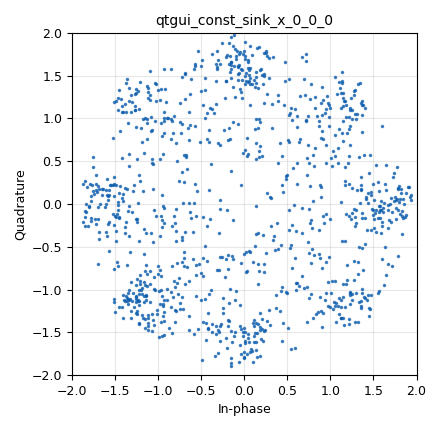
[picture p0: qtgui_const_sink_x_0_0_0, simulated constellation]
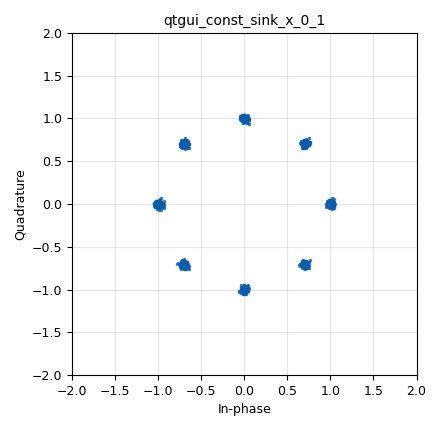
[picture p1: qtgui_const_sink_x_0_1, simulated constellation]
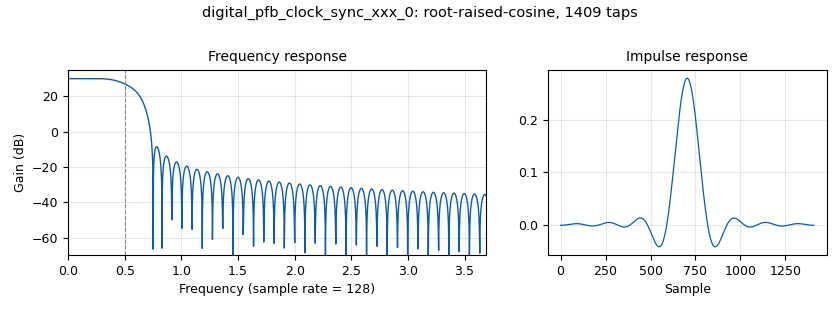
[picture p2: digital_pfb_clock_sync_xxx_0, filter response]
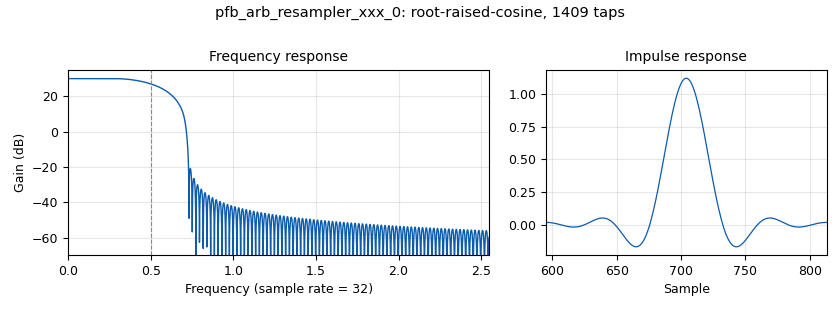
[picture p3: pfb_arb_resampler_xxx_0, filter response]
<?xml version='1.0' encoding='utf-8'?>
<?grc format='1' created='3.7.9'?>
<flow_graph>
<block>
<key>options</key>
<param><key>id</key><value>top_block</value></param>
<param><key>category</key><value>Custom</value></param>
<param><key>generate_options</key><value>qt_gui</value></param>
</block>
<block>
<key>variable</key>
<param><key>id</key><value>const_points</value></param>
<param><key>value</key><value>8</value></param>
</block>
<block>
<key>variable</key>
<param><key>id</key><value>excess_bw</value></param>
<param><key>value</key><value>0.45</value></param>
</block>
<block>
<key>variable</key>
<param><key>id</key><value>fll_ntaps</value></param>
<param><key>value</key><value>55</value></param>
</block>
<block>
<key>variable</key>
<param><key>id</key><value>freq_bw</value></param>
<param><key>value</key><value>2*pi/100</value></param>
</block>
<block>
<key>variable</key>
<param><key>id</key><value>nfilts</value></param>
<param><key>value</key><value>32</value></param>
</block>
<block>
<key>variable</key>
<param><key>id</key><value>ntaps</value></param>
<param><key>value</key><value>11*nfilts*sps</value></param>
</block>
<block>
<key>variable</key>
<param><key>id</key><value>rx_taps</value></param>
<param><key>value</key><value>filter.firdes.root_raised_cosine(nfilts,nfilts*sps,1.0,excess_bw,ntaps)</value></param>
</block>
<block>
<key>variable</key>
<param><key>id</key><value>samp_rate</value></param>
<param><key>value</key><value>80e3</value></param>
</block>
<block>
<key>variable</key>
<param><key>id</key><value>samp_rate2</value></param>
<param><key>value</key><value>500e3</value></param>
</block>
<block>
<key>variable</key>
<param><key>id</key><value>sps</value></param>
<param><key>value</key><value>4</value></param>
</block>
<block>
<key>variable</key>
<param><key>id</key><value>timing_bw</value></param>
<param><key>value</key><value>2*pi/100</value></param>
</block>
<block>
<key>variable</key>
<param><key>id</key><value>tx_taps</value></param>
<param><key>value</key><value>firdes.root_raised_cosine(nfilts,nfilts,1.0,excess_bw,ntaps)</value></param>
</block>
<block>
<key>analog_noise_source_x</key>
<param><key>id</key><value>analog_noise_source_x_0</value></param>
<param><key>amp</key><value>0.05</value></param>
<param><key>noise_type</key><value>analog.GR_GAUSSIAN</value></param>
<param><key>type</key><value>complex</value></param>
<param><key>seed</key><value>0</value></param>
</block>
<block>
<key>analog_random_source_x</key>
<param><key>id</key><value>analog_random_source_x_0</value></param>
<param><key>max</key><value>const_points</value></param>
<param><key>min</key><value>0</value></param>
<param><key>num_samps</key><value>1000</value></param>
<param><key>type</key><value>byte</value></param>
<param><key>repeat</key><value>True</value></param>
</block>
<block>
<key>blocks_add_xx</key>
<param><key>id</key><value>blocks_add_xx_0</value></param>
<param><key>type</key><value>complex</value></param>
<param><key>num_inputs</key><value>3</value></param>
</block>
<block>
<key>blocks_add_xx</key>
<param><key>id</key><value>blocks_add_xx_1</value></param>
<param><key>_enabled</key><value>0</value></param>
<param><key>type</key><value>complex</value></param>
<param><key>num_inputs</key><value>5</value></param>
</block>
<block>
<key>blocks_complex_to_mag_squared</key>
<param><key>id</key><value>blocks_complex_to_mag_squared_0</value></param>
<param><key>_enabled</key><value>0</value></param>
</block>
<block>
<key>blocks_delay</key>
<param><key>id</key><value>blocks_delay_0</value></param>
<param><key>delay</key><value>1</value></param>
<param><key>type</key><value>complex</value></param>
</block>
<block>
<key>blocks_delay</key>
<param><key>id</key><value>blocks_delay_0_0</value></param>
<param><key>delay</key><value>1</value></param>
<param><key>_enabled</key><value>0</value></param>
<param><key>type</key><value>complex</value></param>
</block>
<block>
<key>blocks_delay</key>
<param><key>id</key><value>blocks_delay_0_1</value></param>
<param><key>delay</key><value>1</value></param>
<param><key>_enabled</key><value>0</value></param>
<param><key>type</key><value>complex</value></param>
</block>
<block>
<key>blocks_delay</key>
<param><key>id</key><value>blocks_delay_0_2</value></param>
<param><key>delay</key><value>1</value></param>
<param><key>_enabled</key><value>0</value></param>
<param><key>type</key><value>complex</value></param>
</block>
<block>
<key>blocks_delay</key>
<param><key>id</key><value>blocks_delay_0_3</value></param>
<param><key>delay</key><value>1</value></param>
<param><key>_enabled</key><value>0</value></param>
<param><key>type</key><value>complex</value></param>
</block>
<block>
<key>blocks_multiply_const_vxx</key>
<param><key>id</key><value>blocks_multiply_const_vxx_0</value></param>
<param><key>const</key><value>0.5</value></param>
<param><key>type</key><value>complex</value></param>
</block>
<block>
<key>blocks_multiply_const_vxx</key>
<param><key>id</key><value>blocks_multiply_const_vxx_1</value></param>
<param><key>const</key><value>-0.5</value></param>
<param><key>_enabled</key><value>0</value></param>
<param><key>type</key><value>complex</value></param>
</block>
<block>
<key>blocks_multiply_const_vxx</key>
<param><key>id</key><value>blocks_multiply_const_vxx_1_0</value></param>
<param><key>const</key><value>0.25</value></param>
<param><key>_enabled</key><value>0</value></param>
<param><key>type</key><value>complex</value></param>
</block>
<block>
<key>blocks_multiply_const_vxx</key>
<param><key>id</key><value>blocks_multiply_const_vxx_1_1</value></param>
<param><key>const</key><value>-0.125</value></param>
<param><key>_enabled</key><value>0</value></param>
<param><key>type</key><value>complex</value></param>
</block>
<block>
<key>blocks_multiply_const_vxx</key>
<param><key>id</key><value>blocks_multiply_const_vxx_1_2</value></param>
<param><key>const</key><value>0.0625</value></param>
<param><key>_enabled</key><value>0</value></param>
<param><key>type</key><value>complex</value></param>
</block>
<block>
<key>blocks_throttle</key>
<param><key>id</key><value>blocks_throttle_0</value></param>
<param><key>samples_per_second</key><value>samp_rate/sps</value></param>
<param><key>type</key><value>complex</value></param>
</block>
<block>
<key>digital_chunks_to_symbols_xx</key>
<param><key>id</key><value>digital_chunks_to_symbols_xx_0</value></param>
<param><key>dimension</key><value>1</value></param>
<param><key>in_type</key><value>byte</value></param>
<param><key>out_type</key><value>complex</value></param>
<param><key>symbol_table</key><value>((1+0j),(0.707+0.707j),(0+1j),(-0.707+0.707j),(-1+0j),(-0.707-0.707j),(0-1j),(0.707-0.707j))</value></param>
</block>
<block>
<key>digital_cma_equalizer_cc</key>
<param><key>id</key><value>digital_cma_equalizer_cc_0</value></param>
<param><key>mu</key><value>0.1e-3</value></param>
<param><key>modulus</key><value>1</value></param>
<param><key>num_taps</key><value>20</value></param>
<param><key>sps</key><value>1</value></param>
</block>
<block>
<key>digital_pfb_clock_sync_xxx</key>
<param><key>id</key><value>digital_pfb_clock_sync_xxx_0</value></param>
<param><key>filter_size</key><value>nfilts</value></param>
<param><key>init_phase</key><value>16</value></param>
<param><key>loop_bw</key><value>freq_bw</value></param>
<param><key>max_dev</key><value>1.5</value></param>
<param><key>osps</key><value>1</value></param>
<param><key>sps</key><value>sps</value></param>
<param><key>taps</key><value>rx_taps</value></param>
<param><key>type</key><value>ccf</value></param>
</block>
<block>
<key>import</key>
<param><key>id</key><value>import_0</value></param>
<param><key>import</key><value>from math import pi</value></param>
</block>
<block>
<key>import</key>
<param><key>id</key><value>import_0_0</value></param>
<param><key>import</key><value>from gnuradio import filter</value></param>
</block>
<block>
<key>import</key>
<param><key>id</key><value>import_0_1</value></param>
<param><key>import</key><value>from gnuradio import digital</value></param>
</block>
<block>
<key>pfb_arb_resampler_xxx</key>
<param><key>id</key><value>pfb_arb_resampler_xxx_0</value></param>
<param><key>nfilts</key><value>nfilts</value></param>
<param><key>rrate</key><value>sps</value></param>
<param><key>atten</key><value>100</value></param>
<param><key>taps</key><value>tx_taps</value></param>
<param><key>type</key><value>ccf</value></param>
</block>
<block>
<key>qtgui_const_sink_x</key>
<param><key>id</key><value>qtgui_const_sink_x_0</value></param>
<param><key>_enabled</key><value>0</value></param>
<param><key>size</key><value>1024</value></param>
<param><key>type</key><value>complex</value></param>
</block>
<block>
<key>qtgui_const_sink_x</key>
<param><key>id</key><value>qtgui_const_sink_x_0_0</value></param>
<param><key>_enabled</key><value>0</value></param>
<param><key>size</key><value>1024</value></param>
<param><key>type</key><value>complex</value></param>
</block>
<block>
<key>qtgui_const_sink_x</key>
<param><key>id</key><value>qtgui_const_sink_x_0_0_0</value></param>
<param><key>size</key><value>1024</value></param>
<param><key>type</key><value>complex</value></param>
</block>
<block>
<key>qtgui_const_sink_x</key>
<param><key>id</key><value>qtgui_const_sink_x_0_1</value></param>
<param><key>size</key><value>1024</value></param>
<param><key>type</key><value>complex</value></param>
</block>
<connection><source_block_id>analog_noise_source_x_0</source_block_id><sink_block_id>blocks_add_xx_0</sink_block_id><source_key>0</source_key><sink_key>2</sink_key></connection>
<connection><source_block_id>analog_random_source_x_0</source_block_id><sink_block_id>digital_chunks_to_symbols_xx_0</sink_block_id><source_key>0</source_key><sink_key>0</sink_key></connection>
<connection><source_block_id>blocks_add_xx_0</source_block_id><sink_block_id>blocks_add_xx_1</sink_block_id><source_key>0</source_key><sink_key>0</sink_key></connection>
<connection><source_block_id>blocks_add_xx_0</source_block_id><sink_block_id>blocks_delay_0_1</sink_block_id><source_key>0</source_key><sink_key>0</sink_key></connection>
<connection><source_block_id>blocks_add_xx_0</source_block_id><sink_block_id>digital_pfb_clock_sync_xxx_0</sink_block_id><source_key>0</source_key><sink_key>0</sink_key></connection>
<connection><source_block_id>blocks_add_xx_0</source_block_id><sink_block_id>qtgui_const_sink_x_0_0_0</sink_block_id><source_key>0</source_key><sink_key>0</sink_key></connection>
<connection><source_block_id>blocks_add_xx_1</source_block_id><sink_block_id>blocks_complex_to_mag_squared_0</sink_block_id><source_key>0</source_key><sink_key>0</sink_key></connection>
<connection><source_block_id>blocks_add_xx_1</source_block_id><sink_block_id>digital_pfb_clock_sync_xxx_0</sink_block_id><source_key>0</source_key><sink_key>0</sink_key></connection>
<connection><source_block_id>blocks_delay_0</source_block_id><sink_block_id>blocks_multiply_const_vxx_0</sink_block_id><source_key>0</source_key><sink_key>0</sink_key></connection>
<connection><source_block_id>blocks_delay_0_0</source_block_id><sink_block_id>blocks_delay_0_2</sink_block_id><source_key>0</source_key><sink_key>0</sink_key></connection>
<connection><source_block_id>blocks_delay_0_0</source_block_id><sink_block_id>blocks_multiply_const_vxx_1_0</sink_block_id><source_key>0</source_key><sink_key>0</sink_key></connection>
<connection><source_block_id>blocks_delay_0_1</source_block_id><sink_block_id>blocks_delay_0_0</sink_block_id><source_key>0</source_key><sink_key>0</sink_key></connection>
<connection><source_block_id>blocks_delay_0_1</source_block_id><sink_block_id>blocks_multiply_const_vxx_1</sink_block_id><source_key>0</source_key><sink_key>0</sink_key></connection>
<connection><source_block_id>blocks_delay_0_2</source_block_id><sink_block_id>blocks_delay_0_3</sink_block_id><source_key>0</source_key><sink_key>0</sink_key></connection>
<connection><source_block_id>blocks_delay_0_2</source_block_id><sink_block_id>blocks_multiply_const_vxx_1_1</sink_block_id><source_key>0</source_key><sink_key>0</sink_key></connection>
<connection><source_block_id>blocks_delay_0_3</source_block_id><sink_block_id>blocks_multiply_const_vxx_1_2</sink_block_id><source_key>0</source_key><sink_key>0</sink_key></connection>
<connection><source_block_id>blocks_multiply_const_vxx_0</source_block_id><sink_block_id>blocks_add_xx_0</sink_block_id><source_key>0</source_key><sink_key>0</sink_key></connection>
<connection><source_block_id>blocks_multiply_const_vxx_1</source_block_id><sink_block_id>blocks_add_xx_1</sink_block_id><source_key>0</source_key><sink_key>1</sink_key></connection>
<connection><source_block_id>blocks_multiply_const_vxx_1_0</source_block_id><sink_block_id>blocks_add_xx_1</sink_block_id><source_key>0</source_key><sink_key>2</sink_key></connection>
<connection><source_block_id>blocks_multiply_const_vxx_1_1</source_block_id><sink_block_id>blocks_add_xx_1</sink_block_id><source_key>0</source_key><sink_key>3</sink_key></connection>
<connection><source_block_id>blocks_multiply_const_vxx_1_2</source_block_id><sink_block_id>blocks_add_xx_1</sink_block_id><source_key>0</source_key><sink_key>4</sink_key></connection>
<connection><source_block_id>blocks_throttle_0</source_block_id><sink_block_id>pfb_arb_resampler_xxx_0</sink_block_id><source_key>0</source_key><sink_key>0</sink_key></connection>
<connection><source_block_id>digital_chunks_to_symbols_xx_0</source_block_id><sink_block_id>blocks_throttle_0</sink_block_id><source_key>0</source_key><sink_key>0</sink_key></connection>
<connection><source_block_id>digital_chunks_to_symbols_xx_0</source_block_id><sink_block_id>qtgui_const_sink_x_0_0</sink_block_id><source_key>0</source_key><sink_key>0</sink_key></connection>
<connection><source_block_id>digital_cma_equalizer_cc_0</source_block_id><sink_block_id>qtgui_const_sink_x_0_1</sink_block_id><source_key>0</source_key><sink_key>0</sink_key></connection>
<connection><source_block_id>digital_pfb_clock_sync_xxx_0</source_block_id><sink_block_id>digital_cma_equalizer_cc_0</sink_block_id><source_key>0</source_key><sink_key>0</sink_key></connection>
<connection><source_block_id>pfb_arb_resampler_xxx_0</source_block_id><sink_block_id>blocks_add_xx_0</sink_block_id><source_key>0</source_key><sink_key>1</sink_key></connection>
<connection><source_block_id>pfb_arb_resampler_xxx_0</source_block_id><sink_block_id>blocks_delay_0</sink_block_id><source_key>0</source_key><sink_key>0</sink_key></connection>
<connection><source_block_id>pfb_arb_resampler_xxx_0</source_block_id><sink_block_id>qtgui_const_sink_x_0</sink_block_id><source_key>0</source_key><sink_key>0</sink_key></connection>
</flow_graph>
